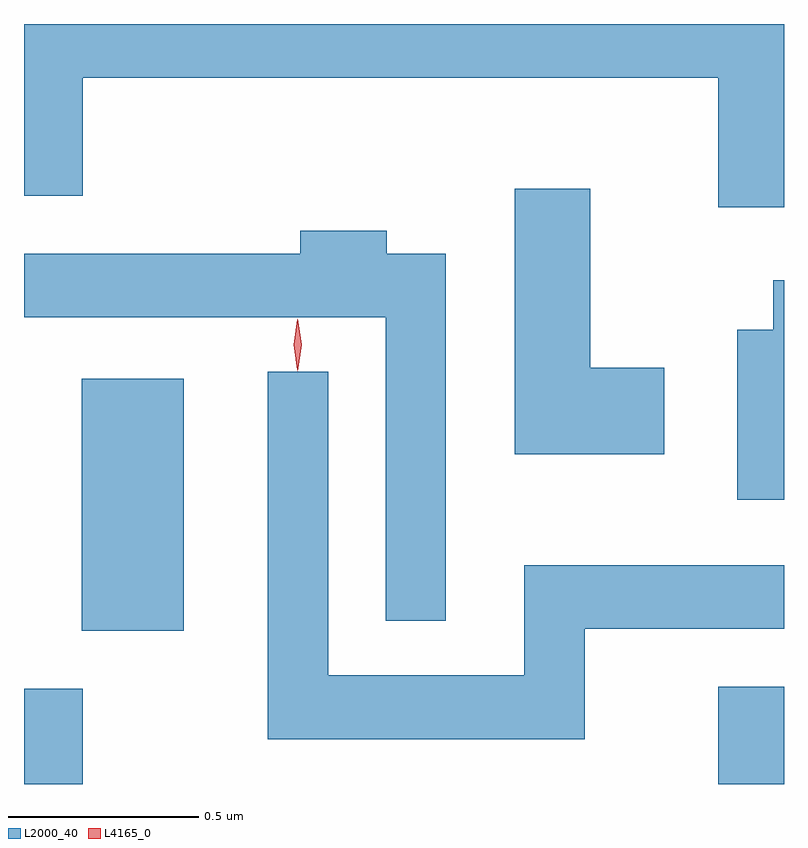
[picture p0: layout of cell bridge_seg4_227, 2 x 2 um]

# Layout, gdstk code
import gdstk
lib = gdstk.Library(unit=1e-6, precision=1e-09)
def R(c, l, rs):  # rectangles x0, y0, x1, y1
    for r in rs: c.add(gdstk.rectangle(r[:2], r[2:], *l))
def P(c, l, *ps):  # polygons
    for p in ps: c.add(gdstk.Polygon(p, *l))
L2000_40 = (2000, 40)
L4165_0 = (4165, 0)

bridge_seg4_227 = lib.new_cell('bridge_seg4_227')
R(bridge_seg4_227, L2000_40, [(969.174,1319.518,969.329,1319.769), (971.001,1319.518,971.174,1319.774), (969.326,1319.921,969.594,1320.584)])
P(bridge_seg4_227, L2000_40, [(971.174,1321.518),(969.174,1321.518),(969.174,1321.066),(969.329,1321.066),(969.329,1321.376),(971.001,1321.376),(971.001,1321.036),(971.174,1321.036)],
  [(970.859,1320.614),(970.664,1320.614),(970.664,1321.084),(970.466,1321.084),(970.466,1320.386),(970.859,1320.386)],
  [(970.284,1320.914),(970.129,1320.914),(970.129,1320.974),(969.901,1320.974),(969.901,1320.914),(969.174,1320.914),(969.174,1320.746),(970.126,1320.746),(970.126,1319.948),(970.284,1319.948)],
  [(971.174,1320.844),(971.146,1320.844),(971.146,1320.714),(971.051,1320.714),(971.051,1320.266),(971.174,1320.266)],
  [(970.649,1319.926),(971.174,1319.926),(971.174,1320.094),(970.491,1320.094),(970.491,1319.804),(969.974,1319.804),(969.974,1320.603),(969.816,1320.603),(969.816,1319.636),(970.649,1319.636)])
P(bridge_seg4_227, L4165_0, [(969.894,1320.604),(969.885,1320.674),(969.894,1320.742),(969.895,1320.743),(969.895,1320.742),(969.905,1320.674),(969.895,1320.604),(969.895,1320.604)],
  [(969.894,1320.607),(969.893,1320.608),(969.884,1320.674),(969.893,1320.74),(969.894,1320.74),(969.894,1320.74),(969.904,1320.674),(969.894,1320.608)])

lib.write_gds('bridge_seg4_227.gds')
